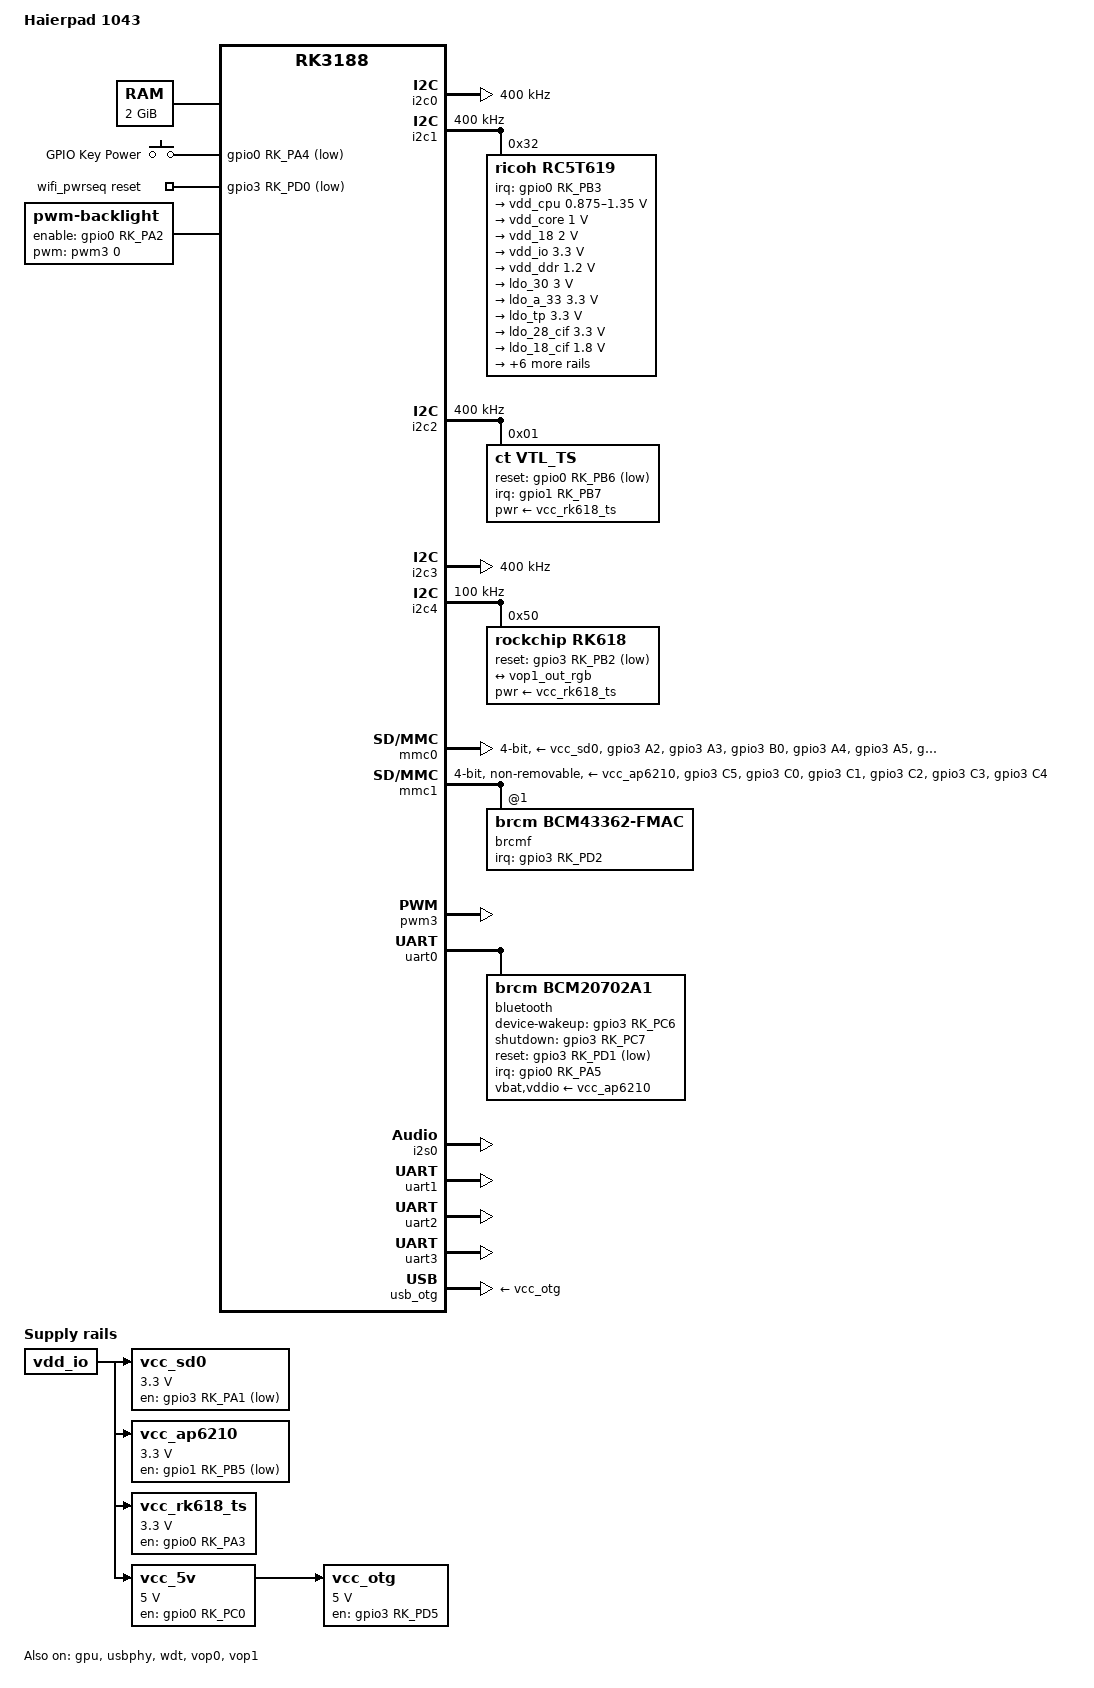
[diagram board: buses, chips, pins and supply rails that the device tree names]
// SPDX-License-Identifier: (GPL-2.0+ OR MIT)
/*
 * Copyright (c) 2013 Heiko Stuebner <heiko@sntech.de>
 */

/dts-v1/;
#include <dt-bindings/input/input.h>
#include <dt-bindings/clock/rk618-cru.h>
#include "rk3188.dtsi"

/ {
	model = "Haierpad 1043";
	compatible = "haierpad,1043", "rockchip,rk3188";

	aliases {
		mmc0 = &mmc0;
		mmc1 = &mmc1;
	};

	memory@60000000 {
		device_type = "memory";
		reg = <0x60000000 0x80000000>;
	};

    chosen {
        stdout-path = "serial2:115200n8";
    };

	gpio-keys {
		compatible = "gpio-keys";
		autorepeat;

		key-power {
			gpios = <&gpio0 RK_PA4 GPIO_ACTIVE_LOW>;
			linux,code = <KEY_POWER>;
			label = "GPIO Key Power";
			linux,input-type = <1>;
			wakeup-source;
			debounce-interval = <100>;
		};

        // TODO: volume gpios
	};

	vcc_sd0: sdmmc-regulator {
		compatible = "regulator-fixed";
		regulator-name = "sdmmc-supply";
		regulator-min-microvolt = <3300000>;
		regulator-max-microvolt = <3300000>;
		gpio = <&gpio3 RK_PA1 GPIO_ACTIVE_LOW>;
		pinctrl-names = "default";
		pinctrl-0 = <&sdmmc_pwr>;
		startup-delay-us = <10000>;
		vin-supply = <&vdd_io>;
	};

	wifi_pwrseq: wifi_pwrseq {
		compatible = "mmc-pwrseq-simple";
		pinctrl-names = "default";
		pinctrl-0 = <&wifi_pwr>;
		reset-gpios = <&gpio3 RK_PD0 GPIO_ACTIVE_LOW>;
		post-power-on-delay-ms = <10>;

		// Must be given. Hopefully this does not break anything.
		clocks = <&cru SCLK_TIMER6>;
		clock-names = "ext_clock";
	};

	vcc_ap6210: ap6210-regulator {
		compatible = "regulator-fixed";
		regulator-name = "ap6210-supply";
		regulator-min-microvolt = <3300000>;
		regulator-max-microvolt = <3300000>;
		gpio = <&gpio1 RK_PB5 GPIO_ACTIVE_LOW>;
		pinctrl-names = "default";
		pinctrl-0 = <&ap6210_pwr>;
		startup-delay-us = <100000>;
		vin-supply = <&vdd_io>;
		regulator-always-on;
	};

    // Works for now
    // TODO: figure out what each regulator pin is really for
	vcc_rk618_ts: rk618-ts-regulator {
		compatible = "regulator-fixed";
		regulator-name = "rk618-ts-supply";
		regulator-min-microvolt = <3300000>;
		regulator-max-microvolt = <3300000>;
		enable-active-high;
		gpio = <&gpio0 RK_PA3 GPIO_ACTIVE_HIGH>;
		pinctrl-names = "default";
		pinctrl-0 = <&rk618_pwr>;
		startup-delay-us = <100000>;
		vin-supply = <&vdd_io>;
		regulator-always-on;
	};

	vcc_5v: vcc-5v-regulator {
		compatible = "regulator-fixed";
		regulator-name = "vcc-5v";
		regulator-min-microvolt = <5000000>;
		regulator-max-microvolt = <5000000>;
		enable-active-high;
		gpio = <&gpio0 RK_PC0 GPIO_ACTIVE_HIGH>;
		pinctrl-names = "default";
		pinctrl-0 = <&host_vbus_drv>;
		vin-supply = <&vdd_io>;
		regulator-always-on;
	};

	vcc_otg: usb-otg-regulator {
		compatible = "regulator-fixed";
		regulator-name = "vcc-otg";
		regulator-min-microvolt = <5000000>;
		regulator-max-microvolt = <5000000>;
		enable-active-high;
		gpio = <&gpio3 RK_PD5 GPIO_ACTIVE_HIGH>;
		pinctrl-names = "default";
		pinctrl-0 = <&otg_vbus_drv>;
		startup-delay-us = <100000>;
		vin-supply = <&vcc_5v>;
	};

    backlight: backlight {
        status = "okay";
        compatible = "pwm-backlight";
        pwms = <&pwm3 0 25000>;
        enable-gpios = <&gpio0 RK_PA2 GPIO_ACTIVE_HIGH>;
		brightness-levels = <0 4095>;
		num-interpolated-steps = <4095>;
		default-brightness-level = <2800>;
    };

    sound {
        compatible = "simple-audio-card";
        simple-audio-card,name = "DUMMY_SND";

        simple-audio-card,dai-link@0 {
            format = "i2s";
            bitclock-master = <&snd_cpu>;
            frame-master = <&snd_cpu>;

            snd_cpu: cpu {
                sound-dai = <&i2s0>;
            };

            snd_codec: codec {
                sound-dai = <&codec>;
            };
        };
    };
};

&cpu0 {
	cpu-supply = <&vdd_cpu>;
};

&cpu1 {
	cpu-supply = <&vdd_cpu>;
};

&cpu2 {
	cpu-supply = <&vdd_cpu>;
};

&cpu3 {
	cpu-supply = <&vdd_cpu>;
};

&gpu {
	status = "okay";
    assigned-clock-rates = <297000000>;
};

&cru {
	assigned-clocks = <&cru PLL_GPLL>, <&cru PLL_CPLL>,
			  <&cru ACLK_CPU>,
			  <&cru HCLK_CPU>, <&cru PCLK_CPU>,
			  <&cru ACLK_PERI>, <&cru HCLK_PERI>,
			  <&cru PCLK_PERI>,
              <&cru SCLK_SDMMC>, <&cru SCLK_SDIO>,
              <&cru HCLK_VDPU>, <&cru HCLK_VEPU>;
	assigned-clock-rates = <768000000>, <594000000>,
			       <192000000>,
			       <96000000>, <48000000>,
			       <192000000>, <96000000>,
			       <48000000>,
			       <48000000>, <24000000>,
			       <74250000>, <74250000>;
};

&i2c0 {
	status = "okay";
	clock-frequency = <400000>;
};

&i2c1 {
	status = "okay";
	clock-frequency = <400000>;

    rc5t619: rc5t619@32 {
        compatible = "ricoh,rc5t619";
        reg = <0x32>;
		status = "okay";
        interrupt-parent = <&gpio0>;
        interrupts = <RK_PB3 IRQ_TYPE_EDGE_FALLING>;
        system-power-controller;

        regulators {
			vdd_cpu: DCDC1 {
				regulator-name = "VDD_CPU";
				regulator-min-microvolt = <875000>;
				regulator-max-microvolt = <1350000>;
				regulator-always-on;
			};
			vdd_core: DCDC2 {
				regulator-name = "VDD_CORE";
				regulator-min-microvolt = <1000000>;
				regulator-max-microvolt = <1000000>;
				regulator-always-on;
			};
			vdd_18: DCDC3 {
				regulator-name = "VDD_18";
				regulator-min-microvolt = <2000000>;
				regulator-max-microvolt = <2000000>;
				regulator-always-on;
			};
			vdd_io: DCDC4 {
				regulator-name = "VDD_IO";
				regulator-min-microvolt = <3300000>;
				regulator-max-microvolt = <3300000>;
				regulator-always-on;
			};
			vdd_ddr: DCDC5 {
				regulator-name = "VDD_DDR";
				regulator-min-microvolt = <1200000>;
				regulator-max-microvolt = <1200000>;
				regulator-always-on;
			};

			ldo_30: LDO1 {
				regulator-name = "LDO_30";
				regulator-min-microvolt = <3000000>;
				regulator-max-microvolt = <3000000>;
				regulator-always-on;
			};
			ldo_a_33: LDO2 {
				regulator-name = "LDO_A_33";
				regulator-min-microvolt = <3300000>;
				regulator-max-microvolt = <3300000>;
				regulator-always-on;
			};
			ldo_tp: LDO3 {
				regulator-name = "LDO_TP";
				regulator-min-microvolt = <3300000>;
				regulator-max-microvolt = <3300000>;
				regulator-always-on;
			};
			ldo_28_cif: LDO4 {
				regulator-name = "LDO_28_CIF";
				regulator-min-microvolt = <3300000>;
				regulator-max-microvolt = <3300000>;
				regulator-always-on;
			};
			ldo_18_cif: LDO5 {
				regulator-name = "LDO_18_CIF";
				regulator-min-microvolt = <1800000>;
				regulator-max-microvolt = <1800000>;
				regulator-always-on;
			};
			ldo_12: LDO6 {
				regulator-name = "LDO_12";
				regulator-min-microvolt = <1200000>;
				regulator-max-microvolt = <1200000>;
				regulator-always-on;
			};
			ldo_io_18: LDO7 {
				regulator-name = "LDO_IO_18";
				regulator-min-microvolt = <1200000>;
				regulator-max-microvolt = <1200000>;
				regulator-always-on;
			};
			ldo_a_25: LDO8 {
				regulator-name = "LDO_A_25";
				regulator-min-microvolt = <3300000>;
				regulator-max-microvolt = <3300000>;
				regulator-always-on;
			};
			ldo_10: LDO9 {
				regulator-name = "LDO_10";
				regulator-min-microvolt = <1000000>;
				regulator-max-microvolt = <1000000>;
				regulator-always-on;
			};
			ldo_a_18: LDO10 {
				regulator-name = "LDO_A_18";
				regulator-min-microvolt = <1800000>;
				regulator-max-microvolt = <1800000>;
				regulator-always-on;
			};
			ldo_rtc: LDORTC1 {
				regulator-name = "LDO_RTC";
				regulator-min-microvolt = <3000000>;
				regulator-max-microvolt = <3000000>;
				regulator-always-on;
			};
        };
    };
};

&i2c2 {
	status = "okay";
	clock-frequency = <400000>;

    vtl_ts@1 {
        compatible = "ct,vtl_ts";
        reg = <0x01>;
		status = "okay";
        pinctrl-names = "default";
        pinctrl-0 = <&ts_int>, <&ts_reset>;
        interrupt-parent = <&gpio1>;
        interrupts = <RK_PB7 IRQ_TYPE_EDGE_FALLING>;
		reset-gpios = <&gpio0 RK_PB6 GPIO_ACTIVE_LOW>;
        screen_max_x = <1920>;
        screen_max_y = <1200>;
        pwr-supply = <&vcc_rk618_ts>;
    };
};

&i2c3 {
	status = "okay";
	clock-frequency = <400000>;
};

&i2c4 {
	status = "okay";
	clock-frequency = <100000>;

	rk618@50 {
		compatible = "rockchip,rk618";
		reg = <0x50>;
		pinctrl-names = "default";
		pinctrl-0 = <&lcdc1_dclk>, <&lcdc1_den>, <&lcdc1_hsync>, <&lcdc1_vsync>, <&lcdc1_rgb24>, <&rk618_spkctl>, <&rk618_hpdet>;
		clocks = <&cru SCLK_I2S0>;
		clock-names = "clkin";
		assigned-clocks = <&cru SCLK_I2S0>;
		assigned-clock-rates = <12000000>;
		reset-gpios = <&gpio3 RK_PB2 GPIO_ACTIVE_LOW>;
		status = "okay";
        pwr-supply = <&vcc_rk618_ts>;

		codec: codec {
			compatible = "rockchip,rk618-codec";
            spkctl-gpio = <&gpio2 RK_PD7 GPIO_ACTIVE_HIGH>;
            hpdet-gpio = <&gpio3 RK_PD4 GPIO_ACTIVE_HIGH>; 
            rockchip,use-spkctl-for-hpctl;
            #sound-dai-cells = <0>;
			status = "okay";
		};

		clock: cru {
			compatible = "rockchip,rk618-cru";
			clocks = <&cru SCLK_I2S0>, <&cru DCLK_LCDC0>, <&cru DCLK_LCDC1>;
			clock-names = "clkin", "lcdc0_dclkp", "lcdc1_dclkp";
			assigned-clocks = <&clock SCALER_PLLIN_CLK>,
					  <&clock VIF_PLLIN_CLK>,
					  <&clock SCALER_CLK>,
					  <&clock VIF0_PRE_CLK>,
					  <&clock CODEC_CLK>,
					  <&clock DITHER_CLK>;
			assigned-clock-parents = <&cru SCLK_I2S0>,
						 <&clock LCDC0_CLK>,
						 <&clock SCALER_PLL_CLK>,
						 <&clock VIF_PLL_CLK>,
						 <&cru SCLK_I2S0>,
						 <&clock VIF0_CLK>;
			#clock-cells = <1>;
			status = "okay";
		};

   //      hdmi {
   //          compatible = "rockchip,rk618-hdmi";
   //          clocks = <&clock HDMI_CLK>;
   //          clock-names = "hdmi";
   //          assigned-clocks = <&clock HDMI_CLK>;
   //          assigned-clock-parents = <&clock VIF0_CLK>;
   //          interrupt-parent = <&gpio2>;
   //          interrupts = <RK_PD6 IRQ_TYPE_LEVEL_HIGH>;
   //          status = "okay";
   //
   //          ports {
   //              #address-cells = <1>;
   //              #size-cells = <0>;
   //
   //              port@0 {
   //                  reg = <0>;
   //
   //                  rgb_in_vop0: endpoint {
   //                      remote-endpoint = <&vop0_out_rgb>;
   //                  };
   //              };
   //          };
   //      };

		dsi {
			compatible = "rockchip,rk618-dsi";
			clocks = <&clock MIPI_CLK>;
			clock-names = "dsi";
			#address-cells = <1>;
			#size-cells = <0>;
			status = "okay";

            rockchip,lane-rate = <1000>;

			ports {
				#address-cells = <1>;
				#size-cells = <0>;

				port@0 {
					reg = <0>;

                    rgb_in_vop1: endpoint {
                        remote-endpoint = <&vop1_out_rgb>;
                    };
				};
			};

			panel@0 {
				reg = <0>;
                compatible = "haier,pad1043-panel";
                enable-gpios = <&gpio0 RK_PB0 GPIO_ACTIVE_LOW>;
                backlight = <&backlight>;
            };
		};
	};
};

&mmc0 {
	status = "okay";
	pinctrl-names = "default";
	pinctrl-0 = <&sd0_clk_pu>, <&sd0_cmd_pu>, <&sd0_cd_pu>, <&sd0_bus4_pu>;
	vmmc-supply = <&vcc_sd0>;

	bus-width = <4>;
	cap-mmc-highspeed;
	cap-sd-highspeed;
	disable-wp;
};

&mmc1 {
	status = "okay";
	pinctrl-names = "default";
	pinctrl-0 = <&sd1_clk_pu>, <&sd1_cmd_pu>, <&sd1_bus4_pu>;
	bus-width = <4>;
	mmc-pwrseq = <&wifi_pwrseq>;
	vmmc-supply = <&vcc_ap6210>;
	non-removable;
	wakeup-source;
    cap-sd-highspeed;
    keep-power-in-suspend;
    max-frequency = <24000000>;

	#address-cells = <1>;
	#size-cells = <0>;
	brcmf: wifi@1 {
		reg = <1>;
        pinctrl-names = "default";
        pinctrl-0 = <&wifi_int>;
		compatible = "brcm,bcm43362-fmac";
        brcm,drive-strength = <32>;
		interrupt-parent = <&gpio3>;
		interrupts = <RK_PD2 IRQ_TYPE_LEVEL_HIGH>;
		interrupt-names = "host-wake";
	};
};

&pwm3 {
	status = "okay";
};

&uart0 {
	pinctrl-names = "default";
	pinctrl-0 = <&uart0_xfer>, <&uart0_rts>, <&uart0_cts>;
	uart-has-rtscts;
	status = "okay";

	bluetooth {
		compatible = "brcm,bcm20702a1";
        pinctrl-names = "default";
        pinctrl-0 = <&bt_int>, <&bt_reset>, <&bt_shutdown>, <&bt_wake>;
        vbat-supply = <&vcc_ap6210>;
        vddio-supply = <&vcc_ap6210>;
		device-wakeup-gpios = <&gpio3 RK_PC6 GPIO_ACTIVE_HIGH>;
		shutdown-gpios = <&gpio3 RK_PC7 GPIO_ACTIVE_HIGH>;
		reset-gpios = <&gpio3 RK_PD1 GPIO_ACTIVE_LOW>;
        interrupt-parent = <&gpio0>;
        interrupts = <RK_PA5 IRQ_TYPE_EDGE_FALLING>;
		max-speed = <1500000>;
	};
};

&pinctrl {
	sd0 {
		sdmmc_pwr: sdmmc-pwr {
			rockchip,pins = <3 RK_PA1 RK_FUNC_GPIO &pcfg_pull_none>;
        };

        sd0_clk_pu: sd0-clk-pu {
            rockchip,pins = <3 RK_PA2 1 &pcfg_pull_none>;
        };

        sd0_cmd_pu: sd0-cmd-pu {
            rockchip,pins = <3 RK_PA3 1 &pcfg_pull_up>;
        };

        sd0_cd_pu: sd0-cd-pu {
            rockchip,pins = <3 RK_PB0 1 &pcfg_pull_up>;
        };

        sd0_bus4_pu: sd0-bus-width4-pu {
            rockchip,pins = <3 RK_PA4 1 &pcfg_pull_up>,
                    <3 RK_PA5 1 &pcfg_pull_up>,
                    <3 RK_PA6 1 &pcfg_pull_up>,
                    <3 RK_PA7 1 &pcfg_pull_up>;
        };
    };

    sd1 {
        sd1_clk_pu: sd1-clk-pu {
            rockchip,pins = <3 RK_PC5 1 &pcfg_pull_none>;
        };

        sd1_cmd_pu: sd1-cmd-pu {
            rockchip,pins = <3 RK_PC0 1 &pcfg_pull_up>;
        };

        sd1_bus4_pu: sd1-bus-width4-pu {
            rockchip,pins = <3 RK_PC1 1 &pcfg_pull_up>,
                    <3 RK_PC2 1 &pcfg_pull_up>,
                    <3 RK_PC3 1 &pcfg_pull_up>,
                    <3 RK_PC4 1 &pcfg_pull_up>;
        };
    };

	ap6210 {
		ap6210_pwr: ap6210-pwr {
			rockchip,pins = <1 RK_PB5 RK_FUNC_GPIO &pcfg_pull_none>;
		};
	};

	rk618 {
		rk618_pwr: rk618-pwr {
			rockchip,pins = <0 RK_PA3 RK_FUNC_GPIO &pcfg_pull_none>;
		};
		rk618_reset: rk618-reset {
			rockchip,pins = <3 RK_PB2 RK_FUNC_GPIO &pcfg_pull_none>;
		};
		rk618_spkctl: rk618-spkctl {
			rockchip,pins = <2 RK_PD7 RK_FUNC_GPIO &pcfg_pull_none>;
		};
		rk618_hpdet: rk618-hpdet {
			rockchip,pins = <3 RK_PD4 RK_FUNC_GPIO &pcfg_pull_none>;
		};
	};

	touch {
		ts_int: ts-int {
			rockchip,pins = <1 RK_PB7 RK_FUNC_GPIO &pcfg_pull_none>;
		};
		ts_reset: ts-reset {
			rockchip,pins = <0 RK_PB6 RK_FUNC_GPIO &pcfg_pull_none>;
		};
	};

	bt {
		bt_int: bt-int {
			rockchip,pins = <0 RK_PA5 RK_FUNC_GPIO &pcfg_pull_up>;
		};
		bt_wake: bt-wake {
			rockchip,pins = <3 RK_PC6 RK_FUNC_GPIO &pcfg_pull_none>;
		};
		bt_shutdown: bt-shutdown {
			rockchip,pins = <3 RK_PC7 RK_FUNC_GPIO &pcfg_pull_none>;
		};
		bt_reset: bt-reset {
			rockchip,pins = <3 RK_PD1 RK_FUNC_GPIO &pcfg_pull_none>;
		};
	};

	wifi {
		wifi_pwr: wifi-pwr {
			rockchip,pins = <3 RK_PD0 RK_FUNC_GPIO &pcfg_pull_none>;
		};
		wifi_int: wifi-int {
			rockchip,pins = <3 RK_PD2 RK_FUNC_GPIO &pcfg_pull_none>;
		};
	};

	usb {
		host_vbus_drv: host-vbus-drv {
			rockchip,pins = <0 RK_PC0 RK_FUNC_GPIO &pcfg_pull_none>;
		};
		otg_vbus_drv: otg-vbus-drv {
			rockchip,pins = <3 RK_PD5 RK_FUNC_GPIO &pcfg_pull_none>;
		};
	};
};

&i2s0 {
	status = "okay";
};

&uart0 {
	status = "okay";
};

&uart1 {
	status = "okay";
};

&uart2 {
	status = "okay";
};

&uart3 {
	status = "okay";
};

&usbphy {
    // vbus-supply = <&vcc_5v>;
	status = "okay";
};

&usb_otg {
    vbus-supply = <&vcc_otg>;
	status = "okay";
};

&wdt {
	status = "okay";
};

&vop0 {
	status = "okay";
};

// &vop0_out {
// 	vop0_out_rgb: endpoint {
// 		remote-endpoint = <&rgb_in_vop0>;
// 	};
// };

&vop1 {
	status = "okay";
};

&vop1_out {
	vop1_out_rgb: endpoint {
		remote-endpoint = <&rgb_in_vop1>;
	};
};

